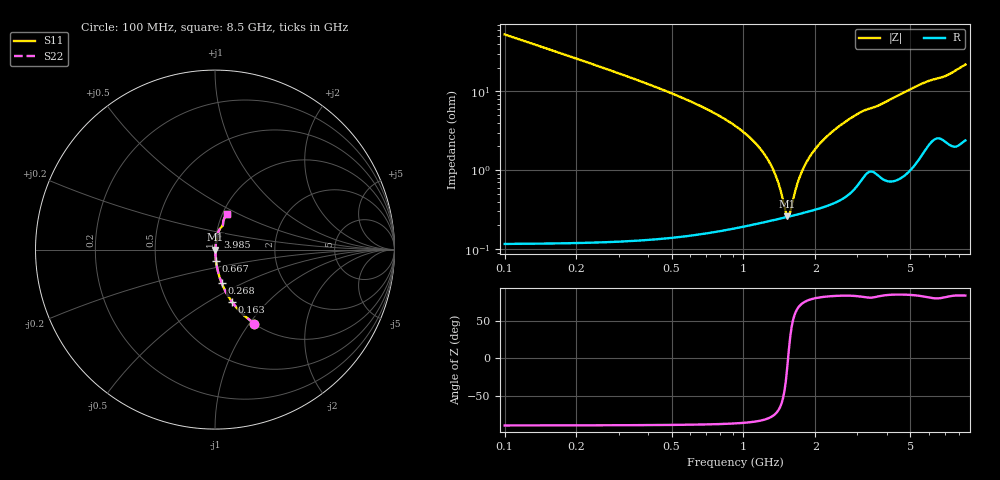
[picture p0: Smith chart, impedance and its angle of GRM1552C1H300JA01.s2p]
!Murata Part Number: GRM1552C1H300JA01
!These Parameters are Measured in Series Mode Connection
!Data Generated on Mar 30, 2021
!  o--ll--o
!Port1  Port2
!  o------o
!Operation Temp=25[degC], DC Bias Voltage=0[V]
!Freq. Start=100[MHz] Stop=9[GHz] 401[Steps]
# Hz S RI R 50
!Freq.(Hz) S11(Real) S11(Imag) S21(Real) S21(Imag) S12(Real) S12(Imag) S22(Real) S22(Imag)
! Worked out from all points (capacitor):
!   401 points, 100 MHz to 8.5 GHz, reference 50 ohm
!   read as one part in series: C = 30 pF near 142 MHz
!   lowest |Z| = 260 mohm at 1.528 GHz (marker M1)
!   series resonance near 1.538 GHz, so ESL is about 360 pH
!   S11 on the Smith chart (normalised r, x): 100 MHz: 1.00, -1.06; 163 MHz: 1.00, -0.64; 268 MHz: 1.00, -0.38; 667 MHz: 1.00, -0.13; 3.985 GHz: 1.01, +0.15; 8.5 GHz: 1.05, +0.44
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1e8  0.2187 -0.4122  0.7813 0.4122  0.7813 0.4122  0.2187 -0.4122
1.63e8  0.0947 -0.2909  0.9053 0.2909  0.9053 0.2909  0.0947 -0.2909
2.68e8  0.0366 -0.1846  0.9634 0.1846  0.9634 0.1846  0.0366 -0.1846
4.36e8  0.0136 -0.1101  0.9864 0.1101  0.9864 0.1101  0.0136 -0.1101
6.67e8  0.00565 -0.0639  0.9943 0.0639  0.9943 0.0639  0.00565 -0.0639
1.024e9  0.00276 -0.0286  0.9972 0.0286  0.9972 0.0286  0.00276 -0.0286
1.234e9  0.00243 -0.0152  0.9976 0.0152  0.9976 0.0152  0.00243 -0.0152
1.36e9  0.00242 -0.00843  0.9976 0.00843  0.9976 0.00843  0.00242 -0.00843
1.507e9  0.00253 -0.0014  0.9975 0.0014  0.9975 0.0014  0.00253 -0.0014
1.528e9  0.00255 -0.000453  0.9975 0.000453  0.9975 0.000453  0.00255 -0.000453
1.57e9  0.0026 0.0014  0.9974 -0.0014  0.9974 -0.0014  0.0026 0.0014
1.675e9  0.00276 0.00584  0.9972 -0.00584  0.9972 -0.00584  0.00276 0.00584
1.759e9  0.00292 0.00922  0.9971 -0.00922  0.9971 -0.00922  0.00292 0.00922
1.843e9  0.00309 0.0125  0.9969 -0.0125  0.9969 -0.0125  0.00309 0.0125
1.969e9  0.0034 0.0171  0.9966 -0.0171  0.9966 -0.0171  0.0034 0.0171
2.347e9  0.00461 0.0301  0.9954 -0.0301  0.9954 -0.0301  0.00461 0.0301
2.914e9  0.00802 0.048  0.992 -0.048  0.992 -0.048  0.00802 0.048
3.985e9  0.0127 0.0731  0.9873 -0.0731  0.9873 -0.0731  0.0127 0.0731
4.3e9  0.0142 0.0825  0.9858 -0.0825  0.9858 -0.0825  0.0142 0.0825
5.707e9  0.0321 0.1217  0.9679 -0.1217  0.9679 -0.1217  0.0321 0.1217
7.114e9  0.0446 0.1481  0.9554 -0.1481  0.9554 -0.1481  0.0446 0.1481
8.5e9  0.0657 0.199  0.9343 -0.199  0.9343 -0.199  0.0657 0.199
